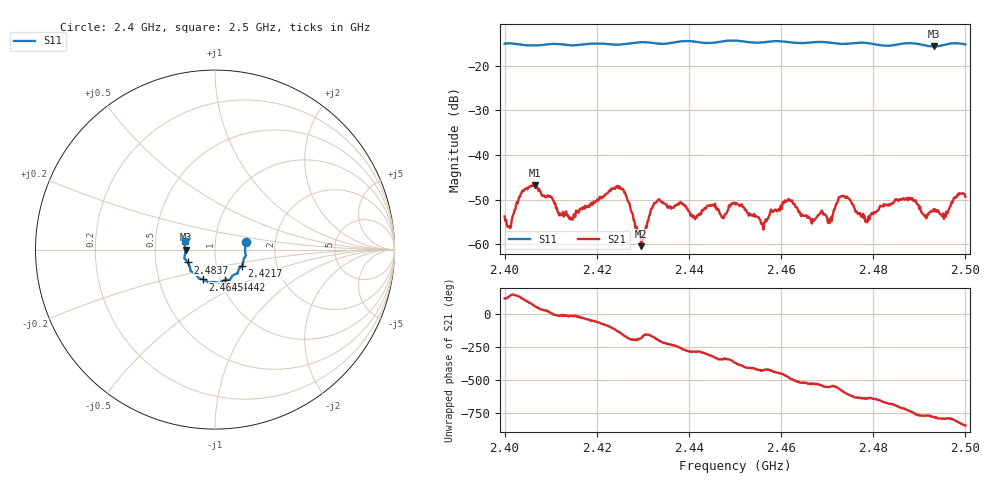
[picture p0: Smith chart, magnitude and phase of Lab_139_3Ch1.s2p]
# Hz S RI R 50
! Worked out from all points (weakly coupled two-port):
!   601 points, 2.4 GHz to 2.5 GHz, reference 50 ohm
!   highest |S21| = -46.71 dB at 2.4065 GHz (marker M1); lowest = -60.4 dB at 2.4297 GHz (marker M2)
!   lowest |S11| = -15.7 dB at 2.4932 GHz (marker M3), VSWR 1.39, Z = 35.9 - j0.0671 ohm
!   |S11| at or under -10 dB: start of sweep to end of sweep
!   S12 and S22 are empty: the file has one direction only
!   S11 on the Smith chart (normalised r, x): 2.4 GHz: 1.41, +0.12; 2.4217 GHz: 1.33, -0.25; 2.4442 GHz: 1.05, -0.37; 2.4645 GHz: 0.83, -0.29; 2.4837 GHz: 0.73, -0.11; 2.5 GHz: 0.71, +0.07
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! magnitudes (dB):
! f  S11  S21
! 2.4 GHz  -15.1  -53.7
! 2.4065 GHz  -15.5  -46.7
! 2.412 GHz  -15.2  -53.1
! 2.4167 GHz  -15.3  -51.9
! 2.4217 GHz  -15.1  -49.2
! 2.4257 GHz  -15.2  -47.6
! 2.4297 GHz  -14.8  -60.4
! 2.4333 GHz  -15.1  -49.9
! 2.4412 GHz  -14.6  -53.8
! 2.4442 GHz  -15.0  -51.3
! 2.45 GHz  -14.4  -51.0
! 2.456 GHz  -14.8  -55.6
! 2.4613 GHz  -14.7  -50.1
! 2.4645 GHz  -15.0  -53.3
! 2.4667 GHz  -14.8  -55.3
! 2.4707 GHz  -14.9  -54.5
! 2.4732 GHz  -15.1  -49.2
! 2.4787 GHz  -15.0  -55.0
! 2.4833 GHz  -15.6  -51.3
! 2.4837 GHz  -15.5  -51.2
! 2.4932 GHz  -15.7  -52.1
! 2.5 GHz  -15.3  -49.3
